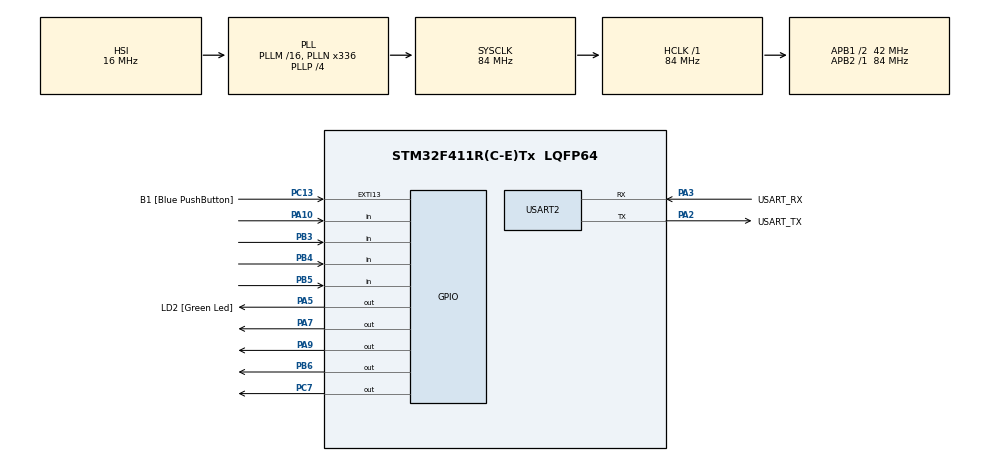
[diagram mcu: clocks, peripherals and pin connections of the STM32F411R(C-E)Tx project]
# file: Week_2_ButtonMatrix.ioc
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Mcu.Family=STM32F4
Mcu.Name=STM32F411R(C-E)Tx
Mcu.Package=LQFP64
NVIC.PriorityGroup=NVIC_PRIORITYGROUP_0
PA10.GPIO_PuPd=GPIO_PULLUP
PA10.Signal=GPIO_Input
PA13.GPIO_Label=TMS
PA13.Mode=Serial_Wire
PA13.Signal=SYS_JTMS-SWDIO
PA14.GPIO_Label=TCK
PA14.Mode=Serial_Wire
PA14.Signal=SYS_JTCK-SWCLK
PA2.GPIO_Label=USART_TX
PA2.Mode=Asynchronous
PA2.Signal=USART2_TX
PA3.GPIO_Label=USART_RX
PA3.Mode=Asynchronous
PA3.Signal=USART2_RX
PA5.GPIO_Label=LD2 [Green Led]
PA5.Signal=GPIO_Output
PA7.GPIO_ModeDefaultOutputPP=GPIO_MODE_OUTPUT_OD
PA7.PinState=GPIO_PIN_SET
PA7.Signal=GPIO_Output
PA9.GPIO_ModeDefaultOutputPP=GPIO_MODE_OUTPUT_OD
PA9.PinState=GPIO_PIN_SET
PA9.Signal=GPIO_Output
PB3.GPIO_PuPd=GPIO_PULLUP
PB3.Signal=GPIO_Input
PB4.GPIO_PuPd=GPIO_PULLUP
PB4.Signal=GPIO_Input
PB5.GPIO_PuPd=GPIO_PULLUP
PB5.Signal=GPIO_Input
PB6.GPIO_ModeDefaultOutputPP=GPIO_MODE_OUTPUT_OD
PB6.PinState=GPIO_PIN_SET
PB6.Signal=GPIO_Output
PC13-ANTI_TAMP.GPIO_Label=B1 [Blue PushButton]
PC13-ANTI_TAMP.GPIO_ModeDefaultEXTI=GPIO_MODE_IT_FALLING
PC13-ANTI_TAMP.Signal=GPXTI13
PC14-OSC32_IN.Mode=LSE-External-Oscillator
PC14-OSC32_IN.Signal=RCC_OSC32_IN
PC15-OSC32_OUT.Mode=LSE-External-Oscillator
PC15-OSC32_OUT.Signal=RCC_OSC32_OUT
PC7.GPIO_ModeDefaultOutputPP=GPIO_MODE_OUTPUT_OD
PC7.PinState=GPIO_PIN_SET
PC7.Signal=GPIO_Output
PH0\ -\ OSC_IN.Mode=HSE-External-Clock-Source
PH0\ -\ OSC_IN.Signal=RCC_OSC_IN
PH1\ -\ OSC_OUT.Mode=HSE-External-Clock-Source
PH1\ -\ OSC_OUT.Signal=RCC_OSC_OUT
ProjectManager.HeapSize=0x200
ProjectManager.StackSize=0x400
ProjectManager.TargetToolchain=STM32CubeIDE
RCC.48MHZClocksFreq_Value=84000000
RCC.AHBFreq_Value=84000000
RCC.APB1CLKDivider=RCC_HCLK_DIV2
RCC.APB1Freq_Value=42000000
RCC.APB1TimFreq_Value=84000000
RCC.APB2Freq_Value=84000000
RCC.APB2TimFreq_Value=84000000
RCC.CortexFreq_Value=84000000
RCC.FLatency-AdvancedSettings=FLASH_LATENCY_2
RCC.HCLKFreq_Value=84000000
RCC.HSE_VALUE=8000000
RCC.HSI_VALUE=16000000
RCC.PLLN=336
RCC.PLLP=RCC_PLLP_DIV4
RCC.SYSCLKFreq_VALUE=84000000
RCC.SYSCLKSource=RCC_SYSCLKSOURCE_PLLCLK
RCC.VCOOutputFreq_Value=336000000
USART2.VirtualMode=VM_ASYNC
board=NUCLEO-F411RE

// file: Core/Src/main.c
/* USER CODE BEGIN Header */
/**
 ******************************************************************************
 * @file           : main.c
 * @brief          : Main program body
 ******************************************************************************
 * @attention
 *
 * <h2><center>&copy; Copyright (c) 2021 STMicroelectronics.
 * All rights reserved.</center></h2>
 *
 * This software component is licensed by ST under BSD 3-Clause license,
 * the "License"; You may not use this file except in compliance with the
 * License. You may obtain a copy of the License at:
 *                        opensource.org/licenses/BSD-3-Clause
 *
 ******************************************************************************
 */
/* USER CODE END Header */
#include "main.h"

UART_HandleTypeDef huart2;

/* USER CODE BEGIN PV */
//save status of Button Matrix
uint16_t ButtonMatrixState = 0;

//Button TimeStamp
uint32_t ButtonMatrixTimestamp = 0;

uint16_t EnterNumber = 0;
uint8_t CountRound = 0;
uint16_t InputCheck[11] = {};
uint32_t TimeStamp = 0;
uint8_t Login = 0;
uint8_t LED2 = 0;
uint16_t Check[2] = {};
/* USER CODE END PV */

void SystemClock_Config(void);
static void MX_GPIO_Init(void);
static void MX_USART2_UART_Init(void);
/* USER CODE BEGIN PFP */
//scan and update data of Button Matrix
void ButtonMatrixUpdate();
/* USER CODE END PFP */

int main(void)
{

	/* MCU Configuration--------------------------------------------------------*/

	/* Reset of all peripherals, Initializes the Flash interface and the Systick. */
	HAL_Init();

	/* Configure the system clock */
	SystemClock_Config();

	/* Initialize all configured peripherals */
	MX_GPIO_Init();
	MX_USART2_UART_Init();

	/* Infinite loop */
	while (1)
	{

		/* USER CODE BEGIN 3 */
		ButtonMatrixUpdate();

		//Transform to Number
		Check[0] = ButtonMatrixState;
		if (Check[0] != 0 && Check[1] == 0)
		{
			if (ButtonMatrixState == 4096){EnterNumber = 0;} // 0
			else if (ButtonMatrixState == 256){EnterNumber = 1;} // 1
			else if (ButtonMatrixState == 512){EnterNumber = 2;} // 2
			else if (ButtonMatrixState == 1024){EnterNumber = 3;} // 3
			else if (ButtonMatrixState == 16){EnterNumber = 4;} // 4
			else if (ButtonMatrixState == 32){EnterNumber = 5;} // 5
			else if (ButtonMatrixState == 64){EnterNumber = 6;} // 6
			else if (ButtonMatrixState == 1){EnterNumber = 7;} // 7
			else if (ButtonMatrixState == 2){EnterNumber = 8;} // 8
			else if (ButtonMatrixState == 4){EnterNumber = 9;} // 9
			else if (ButtonMatrixState == 8){Login = 0; CountRound = -1;} // Clear

			InputCheck[CountRound] = EnterNumber;
			CountRound += 1;
			if (ButtonMatrixState == 32768 && CountRound == 12) // Login
			{
				CountRound -= 1;
				if (   InputCheck[0] == 6
					&& InputCheck[1] == 2
					&& InputCheck[2] == 3
					&& InputCheck[3] == 4
					&& InputCheck[4] == 0
					&& InputCheck[5] == 5
					&& InputCheck[6] == 0
					&& InputCheck[7] == 0
					&& InputCheck[8] == 0
					&& InputCheck[9] == 6
					&& InputCheck[10] == 1)
				{
					Login = 1;
				}
			}

			if (ButtonMatrixState == 2048){CountRound -= 1;} // Empty
			else if (ButtonMatrixState == 8192){CountRound -= 1;} // Empty
			else if (ButtonMatrixState == 16384){CountRound -= 1;} // Empty
			else if (ButtonMatrixState == 128){CountRound -= 1;} // Empty

		}
		Check[1] = Check[0];

		if (HAL_GetTick() - TimeStamp > 100)
		{
			TimeStamp = HAL_GetTick();
			LED2 ^= 1;
		}
		if (Login == 1){HAL_GPIO_WritePin(GPIOA, GPIO_PIN_5, LED2);}
		if (Login == 0){HAL_GPIO_WritePin(GPIOA, GPIO_PIN_5, GPIO_PIN_RESET);}

	}
	/* USER CODE END 3 */
}

void SystemClock_Config(void)
{
	RCC_OscInitTypeDef RCC_OscInitStruct =
	{ 0 };
	RCC_ClkInitTypeDef RCC_ClkInitStruct =
	{ 0 };

	/** Configure the main internal regulator output voltage
	 */
	__HAL_RCC_PWR_CLK_ENABLE();
	__HAL_PWR_VOLTAGESCALING_CONFIG(PWR_REGULATOR_VOLTAGE_SCALE1);
	/** Initializes the RCC Oscillators according to the specified parameters
	 * in the RCC_OscInitTypeDef structure.
	 */
	RCC_OscInitStruct.OscillatorType = RCC_OSCILLATORTYPE_HSI;
	RCC_OscInitStruct.HSIState = RCC_HSI_ON;
	RCC_OscInitStruct.HSICalibrationValue = RCC_HSICALIBRATION_DEFAULT;
	RCC_OscInitStruct.PLL.PLLState = RCC_PLL_ON;
	RCC_OscInitStruct.PLL.PLLSource = RCC_PLLSOURCE_HSI;
	RCC_OscInitStruct.PLL.PLLM = 16;
	RCC_OscInitStruct.PLL.PLLN = 336;
	RCC_OscInitStruct.PLL.PLLP = RCC_PLLP_DIV4;
	RCC_OscInitStruct.PLL.PLLQ = 4;
	if (HAL_RCC_OscConfig(&RCC_OscInitStruct) != HAL_OK)
	{
		Error_Handler();
	}
	/** Initializes the CPU, AHB and APB buses clocks
	 */
	RCC_ClkInitStruct.ClockType = RCC_CLOCKTYPE_HCLK | RCC_CLOCKTYPE_SYSCLK
			| RCC_CLOCKTYPE_PCLK1 | RCC_CLOCKTYPE_PCLK2;
	RCC_ClkInitStruct.SYSCLKSource = RCC_SYSCLKSOURCE_PLLCLK;
	RCC_ClkInitStruct.AHBCLKDivider = RCC_SYSCLK_DIV1;
	RCC_ClkInitStruct.APB1CLKDivider = RCC_HCLK_DIV2;
	RCC_ClkInitStruct.APB2CLKDivider = RCC_HCLK_DIV1;

	if (HAL_RCC_ClockConfig(&RCC_ClkInitStruct, FLASH_LATENCY_2) != HAL_OK)
	{
		Error_Handler();
	}
}

static void MX_USART2_UART_Init(void)
{

	huart2.Instance = USART2;
	huart2.Init.BaudRate = 115200;
	huart2.Init.WordLength = UART_WORDLENGTH_8B;
	huart2.Init.StopBits = UART_STOPBITS_1;
	huart2.Init.Parity = UART_PARITY_NONE;
	huart2.Init.Mode = UART_MODE_TX_RX;
	huart2.Init.HwFlowCtl = UART_HWCONTROL_NONE;
	huart2.Init.OverSampling = UART_OVERSAMPLING_16;
	if (HAL_UART_Init(&huart2) != HAL_OK)
	{
		Error_Handler();
	}

}

static void MX_GPIO_Init(void)
{
	GPIO_InitTypeDef GPIO_InitStruct =
	{ 0 };

	/* GPIO Ports Clock Enable */
	__HAL_RCC_GPIOC_CLK_ENABLE();
	__HAL_RCC_GPIOH_CLK_ENABLE();
	__HAL_RCC_GPIOA_CLK_ENABLE();
	__HAL_RCC_GPIOB_CLK_ENABLE();

	/*Configure GPIO pin Output Level */
	HAL_GPIO_WritePin(LD2_GPIO_Port, LD2_Pin, GPIO_PIN_RESET);

	/*Configure GPIO pin Output Level */
	HAL_GPIO_WritePin(GPIOA, GPIO_PIN_7 | GPIO_PIN_9, GPIO_PIN_SET);

	/*Configure GPIO pin Output Level */
	HAL_GPIO_WritePin(GPIOC, GPIO_PIN_7, GPIO_PIN_SET);

	/*Configure GPIO pin Output Level */
	HAL_GPIO_WritePin(GPIOB, GPIO_PIN_6, GPIO_PIN_SET);

	/*Configure GPIO pin : B1_Pin */
	GPIO_InitStruct.Pin = B1_Pin;
	GPIO_InitStruct.Mode = GPIO_MODE_IT_FALLING;
	GPIO_InitStruct.Pull = GPIO_NOPULL;
	HAL_GPIO_Init(B1_GPIO_Port, &GPIO_InitStruct);

	/*Configure GPIO pin : LD2_Pin */
	GPIO_InitStruct.Pin = LD2_Pin;
	GPIO_InitStruct.Mode = GPIO_MODE_OUTPUT_PP;
	GPIO_InitStruct.Pull = GPIO_NOPULL;
	GPIO_InitStruct.Speed = GPIO_SPEED_FREQ_LOW;
	HAL_GPIO_Init(LD2_GPIO_Port, &GPIO_InitStruct);

	/*Configure GPIO pins : PA7 PA9 */
	GPIO_InitStruct.Pin = GPIO_PIN_7 | GPIO_PIN_9;
	GPIO_InitStruct.Mode = GPIO_MODE_OUTPUT_OD;
	GPIO_InitStruct.Pull = GPIO_NOPULL;
	GPIO_InitStruct.Speed = GPIO_SPEED_FREQ_LOW;
	HAL_GPIO_Init(GPIOA, &GPIO_InitStruct);

	/*Configure GPIO pin : PC7 */
	GPIO_InitStruct.Pin = GPIO_PIN_7;
	GPIO_InitStruct.Mode = GPIO_MODE_OUTPUT_OD;
	GPIO_InitStruct.Pull = GPIO_NOPULL;
	GPIO_InitStruct.Speed = GPIO_SPEED_FREQ_LOW;
	HAL_GPIO_Init(GPIOC, &GPIO_InitStruct);

	/*Configure GPIO pin : PA10 */
	GPIO_InitStruct.Pin = GPIO_PIN_10;
	GPIO_InitStruct.Mode = GPIO_MODE_INPUT;
	GPIO_InitStruct.Pull = GPIO_PULLUP;
	HAL_GPIO_Init(GPIOA, &GPIO_InitStruct);

	/*Configure GPIO pins : PB3 PB4 PB5 */
	GPIO_InitStruct.Pin = GPIO_PIN_3 | GPIO_PIN_4 | GPIO_PIN_5;
	GPIO_InitStruct.Mode = GPIO_MODE_INPUT;
	GPIO_InitStruct.Pull = GPIO_PULLUP;
	HAL_GPIO_Init(GPIOB, &GPIO_InitStruct);

	/*Configure GPIO pin : PB6 */
	GPIO_InitStruct.Pin = GPIO_PIN_6;
	GPIO_InitStruct.Mode = GPIO_MODE_OUTPUT_OD;
	GPIO_InitStruct.Pull = GPIO_NOPULL;
	GPIO_InitStruct.Speed = GPIO_SPEED_FREQ_LOW;
	HAL_GPIO_Init(GPIOB, &GPIO_InitStruct);

}

/* USER CODE BEGIN 4 */
//port/pin array , 0-3 input , 4-7 output
GPIO_TypeDef *ButtonMatrixPort[8] =
{ GPIOA, GPIOB, GPIOB, GPIOB, GPIOA, GPIOC, GPIOB, GPIOA };

uint16_t ButtonMatrixPin[8] =
{ GPIO_PIN_10, GPIO_PIN_3, GPIO_PIN_5, GPIO_PIN_4, GPIO_PIN_9, GPIO_PIN_7,
GPIO_PIN_6, GPIO_PIN_7 };

uint8_t ButtonMatrixRow = 0;  //What  R Now
void ButtonMatrixUpdate()
{
	if (HAL_GetTick() - ButtonMatrixTimestamp >= 50)
	{
		ButtonMatrixTimestamp = HAL_GetTick();
		int i;
		for (i = 0; i < 4; i += 1)
		{ //0-3
			GPIO_PinState PinState = HAL_GPIO_ReadPin(ButtonMatrixPort[i],
					ButtonMatrixPin[i]);
			if (PinState == GPIO_PIN_RESET) // Button Press
			{
				ButtonMatrixState |= (uint16_t) 1 << (i + ButtonMatrixRow * 4);
			}
			else
			{
				ButtonMatrixState &= ~((uint16_t) 1 << (i + ButtonMatrixRow * 4));
			}
		}
		uint8_t NowOutputPin = ButtonMatrixRow + 4;
		//SET Rn
		HAL_GPIO_WritePin(ButtonMatrixPort[NowOutputPin],
				ButtonMatrixPin[NowOutputPin], GPIO_PIN_SET);
		// update New Row
		ButtonMatrixRow = (ButtonMatrixRow + 1) % 4;

		uint8_t NextOutputPin = ButtonMatrixRow + 4;
		//Reset Rn+1
		HAL_GPIO_WritePin(ButtonMatrixPort[NextOutputPin],
				ButtonMatrixPin[NextOutputPin], GPIO_PIN_RESET);

	}
}
/* USER CODE END 4 */

void Error_Handler(void)
{
	__disable_irq();
	while (1)
	{
	}
}

/************************ (C) COPYRIGHT STMicroelectronics *****END OF FILE****/
